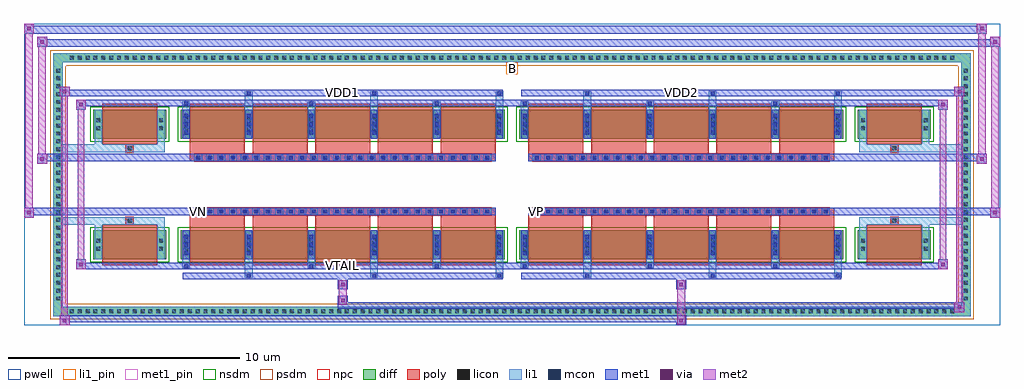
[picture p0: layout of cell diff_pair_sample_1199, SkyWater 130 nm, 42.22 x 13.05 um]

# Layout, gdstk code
import gdstk
lib = gdstk.Library(unit=1e-6, precision=5e-09)
def R(c, l, rs):  # rectangles x0, y0, x1, y1
    for r in rs: c.add(gdstk.rectangle(r[:2], r[2:], *l))
def A(c, l, x, y, w, h, nx, ny, dx, dy):  # array of equal rectangles
    R(c, l, [(x+i*dx, y+j*dy, x+i*dx+w, y+j*dy+h) for i in range(nx) for j in range(ny)])
def P(c, l, *ps):  # polygons
    for p in ps: c.add(gdstk.Polygon(p, *l))
pwell = (64, 44)
diff = (65, 20)
poly = (66, 20)
licon = (66, 44)
li1_pin = (67, 16)
li1 = (67, 20)
mcon = (67, 44)
met1_pin = (68, 16)
met1 = (68, 20)
via = (68, 44)
met2 = (69, 20)
nsdm = (93, 44)
psdm = (94, 20)
npc = (95, 20)

diff_pair_sample_1199 = lib.new_cell('diff_pair_sample_1199')
R(diff_pair_sample_1199, pwell, [(-21.11,-6.09,21.11,6.96), (-18.43,-4.28,-0.01,-0.8), (0.01,-4.28,18.43,-0.8), (-18.43,0.8,-0.01,4.28), (0.01,0.8,18.43,4.28)])
A(diff_pair_sample_1199, diff, -19.245, -5.69, 0.41, 0.41, 113, 2, 0.34, 10.97)
A(diff_pair_sample_1199, diff, -19.84, -5.135, 0.41, 0.41, 1, 30, 0, 0.34)
A(diff_pair_sample_1199, diff, 19.43, -5.135, 0.41, 0.41, 1, 30, 0, 0.34)
R(diff_pair_sample_1199, diff, [(-19.245,-5.69,19.245,-5.28), (-19.84,-5.135,-19.43,5.135), (19.43,-5.135,19.84,5.135), (-18.12,-3.235,-14.96,-1.985), (-14.32,-3.235,-0.32,-1.985), (0.32,-3.235,14.32,-1.985), (14.96,-3.235,18.12,-1.985), (-18.12,1.985,-14.96,3.235), (-14.32,1.985,-0.32,3.235), (0.32,1.985,14.32,3.235), (14.96,1.985,18.12,3.235), (-19.245,5.28,19.245,5.69)])
P(diff_pair_sample_1199, diff, [(19.84,5.69),(-19.84,5.69),(-19.84,-5.28),(-19.43,-5.28),(-19.43,5.28),(19.43,5.28),(19.43,-5.28),(-19.43,-5.28),(-19.84,-5.28),(-19.84,-5.69),(19.84,-5.69)])
A(diff_pair_sample_1199, poly, -13.93, -3.485, 2.38, 1.75, 5, 2, 2.71, 5.22)
A(diff_pair_sample_1199, poly, 0.71, -3.485, 2.38, 1.75, 5, 2, 2.71, 5.22)
A(diff_pair_sample_1199, poly, -13.93, -1.735, 2.38, 0.405, 5, 2, 2.71, 3.065)
A(diff_pair_sample_1199, poly, 0.71, -1.735, 2.38, 0.405, 5, 2, 2.71, 3.065)
A(diff_pair_sample_1199, poly, -13.735, -1.33, 0.33, 0.33, 26, 2, 0.5, 2.33)
A(diff_pair_sample_1199, poly, 0.905, -1.33, 0.33, 0.33, 26, 2, 0.5, 2.33)
R(diff_pair_sample_1199, poly, [(-17.73,-3.485,-15.35,-1.735), (15.35,-3.485,17.73,-1.735), (-16.705,-1.735,-16.375,-1.405), (-16.705,-1.735,-16.375,-1.405), (16.375,-1.735,16.705,-1.405), (16.375,-1.735,16.705,-1.405), (-13.93,-1.33,-0.71,-1), (0.71,-1.33,13.93,-1), (-13.93,1,-0.71,1.33), (0.71,1,13.93,1.33), (-16.705,1.405,-16.375,1.735), (-16.705,1.405,-16.375,1.735), (16.375,1.405,16.705,1.735), (16.375,1.405,16.705,1.735), (-17.73,1.735,-15.35,3.485), (15.35,1.735,17.73,3.485)])
A(diff_pair_sample_1199, licon, -19.125, -5.57, 0.17, 0.17, 113, 2, 0.34, 10.97)
A(diff_pair_sample_1199, licon, -19.72, -5.015, 0.17, 0.17, 1, 30, 0, 0.34)
A(diff_pair_sample_1199, licon, 19.55, -5.015, 0.17, 0.17, 1, 30, 0, 0.34)
A(diff_pair_sample_1199, licon, -14.18, -2.865, 0.17, 0.17, 6, 2, 2.71, 0.34)
A(diff_pair_sample_1199, licon, 0.46, -2.865, 0.17, 0.17, 6, 2, 2.71, 0.34)
A(diff_pair_sample_1199, licon, -13.655, -1.25, 0.17, 0.17, 26, 2, 0.5, 2.33)
A(diff_pair_sample_1199, licon, 0.985, -1.25, 0.17, 0.17, 26, 2, 0.5, 2.33)
A(diff_pair_sample_1199, licon, -14.18, 2.355, 0.17, 0.17, 6, 2, 2.71, 0.34)
A(diff_pair_sample_1199, licon, 0.46, 2.355, 0.17, 0.17, 6, 2, 2.71, 0.34)
R(diff_pair_sample_1199, licon, [(-17.98,-2.865,-17.81,-2.695), (-15.27,-2.865,-15.1,-2.695), (15.1,-2.865,15.27,-2.695), (17.81,-2.865,17.98,-2.695), (-17.98,-2.525,-17.81,-2.355), (-15.27,-2.525,-15.1,-2.355), (15.1,-2.525,15.27,-2.355), (17.81,-2.525,17.98,-2.355), (-16.625,-1.655,-16.455,-1.485), (16.455,-1.655,16.625,-1.485), (-16.625,1.485,-16.455,1.655), (16.455,1.485,16.625,1.655), (-17.98,2.355,-17.81,2.525), (-15.27,2.355,-15.1,2.525), (15.1,2.355,15.27,2.525), (17.81,2.355,17.98,2.525), (-17.98,2.695,-17.81,2.865), (-15.27,2.695,-15.1,2.865), (15.1,2.695,15.27,2.865), (17.81,2.695,17.98,2.865)])
R(diff_pair_sample_1199, li1_pin, [(-0.25,4.78,0.25,5.28)])
A(diff_pair_sample_1199, li1, -19.205, -5.65, 0.33, 0.33, 113, 2, 0.34, 10.97)
A(diff_pair_sample_1199, li1, -19.8, -5.095, 0.33, 0.33, 1, 30, 0, 0.34)
A(diff_pair_sample_1199, li1, 19.47, -5.095, 0.33, 0.33, 1, 30, 0, 0.34)
A(diff_pair_sample_1199, li1, -11.55, -4.04, 0.33, 0.805, 3, 2, 5.42, 7.275)
A(diff_pair_sample_1199, li1, -11.47, -4.04, 0.17, 0.17, 3, 2, 5.42, 7.91)
A(diff_pair_sample_1199, li1, 3.09, -4.04, 0.33, 0.805, 3, 2, 5.42, 7.275)
A(diff_pair_sample_1199, li1, 3.17, -4.04, 0.17, 0.17, 3, 2, 5.42, 7.91)
A(diff_pair_sample_1199, li1, -14.26, -3.61, 0.33, 0.375, 3, 2, 5.42, 6.845)
A(diff_pair_sample_1199, li1, -14.18, -3.61, 0.17, 0.17, 3, 2, 5.42, 7.05)
A(diff_pair_sample_1199, li1, 0.38, -3.61, 0.33, 0.375, 3, 2, 5.42, 6.845)
A(diff_pair_sample_1199, li1, 0.46, -3.61, 0.17, 0.17, 3, 2, 5.42, 7.05)
A(diff_pair_sample_1199, li1, -14.26, -3.235, 0.33, 1.25, 6, 2, 2.71, 5.22)
A(diff_pair_sample_1199, li1, 0.38, -3.235, 0.33, 1.25, 6, 2, 2.71, 5.22)
A(diff_pair_sample_1199, li1, -14.18, -3.055, 0.17, 0.17, 6, 3, 2.71, 0.36)
A(diff_pair_sample_1199, li1, -14.18, -3.055, 0.17, 0.89, 6, 2, 2.71, 5.22)
A(diff_pair_sample_1199, li1, 0.46, -3.055, 0.17, 0.17, 6, 3, 2.71, 0.36)
A(diff_pair_sample_1199, li1, 0.46, -3.055, 0.17, 0.89, 6, 2, 2.71, 5.22)
A(diff_pair_sample_1199, li1, -14.26, -2.945, 0.33, 0.33, 6, 2, 2.71, 0.34)
A(diff_pair_sample_1199, li1, 0.38, -2.945, 0.33, 0.33, 6, 2, 2.71, 0.34)
A(diff_pair_sample_1199, li1, -13.735, -1.33, 0.33, 0.33, 26, 2, 0.5, 2.33)
A(diff_pair_sample_1199, li1, 0.905, -1.33, 0.33, 0.33, 26, 2, 0.5, 2.33)
A(diff_pair_sample_1199, li1, -14.18, 2.165, 0.17, 0.17, 6, 3, 2.71, 0.36)
A(diff_pair_sample_1199, li1, 0.46, 2.165, 0.17, 0.17, 6, 3, 2.71, 0.36)
A(diff_pair_sample_1199, li1, -14.26, 2.275, 0.33, 0.33, 6, 2, 2.71, 0.34)
A(diff_pair_sample_1199, li1, 0.38, 2.275, 0.33, 0.33, 6, 2, 2.71, 0.34)
R(diff_pair_sample_1199, li1, [(-19.84,-5.69,-19.43,-5.28), (-19.84,-5.69,-19.43,-5.28), (-19.43,-5.69,19.43,-5.28), (19.43,-5.69,19.84,-5.28), (19.43,-5.69,19.84,-5.28), (-19.84,-5.28,-19.43,5.28), (19.43,-5.28,19.84,5.28), (-18.06,-3.235,-17.73,-1.985), (-15.35,-3.235,-15.02,-1.985), (15.02,-3.235,15.35,-1.985), (17.73,-3.235,18.06,-1.985), (-18.06,-2.945,-17.73,-2.615), (-15.35,-2.945,-15.02,-2.615), (15.02,-2.945,15.35,-2.615), (17.73,-2.945,18.06,-2.615), (-18.06,-2.605,-17.73,-2.275), (-15.35,-2.605,-15.02,-2.275), (15.02,-2.605,15.35,-2.275), (17.73,-2.605,18.06,-2.275), (-18.06,-1.985,-17.73,-1.405), (-15.35,-1.985,-15.02,-1.405), (15.02,-1.985,15.35,-1.405), (17.73,-1.985,18.06,-1.405), (-19.84,-1.735,-16.705,-1.405), (-18.06,-1.735,-16.705,-1.405), (-16.705,-1.735,-16.375,-1.405), (-16.375,-1.735,-15.02,-1.405), (15.02,-1.735,16.375,-1.405), (16.375,-1.735,16.705,-1.405), (16.375,-1.735,19.84,-1.405), (16.705,-1.735,18.06,-1.405), (-19.84,1.405,-16.705,1.735), (-18.06,1.405,-16.705,1.735), (-18.06,1.405,-17.73,1.985), (-16.705,1.405,-16.375,1.735), (-16.375,1.405,-15.02,1.735), (-15.35,1.405,-15.02,1.985), (15.02,1.405,16.375,1.735), (15.02,1.405,15.35,1.985), (16.375,1.405,16.705,1.735), (16.375,1.405,19.84,1.735), (16.705,1.405,18.06,1.735), (17.73,1.405,18.06,1.985), (-18.06,1.985,-17.73,3.235), (-15.35,1.985,-15.02,3.235), (15.02,1.985,15.35,3.235), (17.73,1.985,18.06,3.235), (-18.06,2.275,-17.73,2.605), (-15.35,2.275,-15.02,2.605), (15.02,2.275,15.35,2.605), (17.73,2.275,18.06,2.605), (-18.06,2.615,-17.73,2.945), (-15.35,2.615,-15.02,2.945), (15.02,2.615,15.35,2.945), (17.73,2.615,18.06,2.945), (-19.84,5.28,-19.43,5.69), (-19.84,5.28,-19.43,5.69), (-19.43,5.28,19.43,5.69), (19.43,5.28,19.84,5.69), (19.43,5.28,19.84,5.69)])
A(diff_pair_sample_1199, mcon, -11.47, -4.04, 0.17, 0.17, 3, 2, 5.42, 7.91)
A(diff_pair_sample_1199, mcon, 3.17, -4.04, 0.17, 0.17, 3, 2, 5.42, 7.91)
A(diff_pair_sample_1199, mcon, -14.18, -3.61, 0.17, 0.17, 3, 2, 5.42, 7.05)
A(diff_pair_sample_1199, mcon, 0.46, -3.61, 0.17, 0.17, 3, 2, 5.42, 7.05)
A(diff_pair_sample_1199, mcon, -14.18, -3.055, 0.17, 0.17, 6, 3, 2.71, 0.36)
A(diff_pair_sample_1199, mcon, 0.46, -3.055, 0.17, 0.17, 6, 3, 2.71, 0.36)
A(diff_pair_sample_1199, mcon, -13.655, -1.25, 0.17, 0.17, 26, 2, 0.5, 2.33)
A(diff_pair_sample_1199, mcon, 0.985, -1.25, 0.17, 0.17, 26, 2, 0.5, 2.33)
A(diff_pair_sample_1199, mcon, -14.18, 2.165, 0.17, 0.17, 6, 3, 2.71, 0.36)
A(diff_pair_sample_1199, mcon, 0.46, 2.165, 0.17, 0.17, 6, 3, 2.71, 0.36)
R(diff_pair_sample_1199, met1_pin, [(-7.455,-3.65,-7.185,-3.38), (-13.705,-1.29,-13.435,-1.02), (0.935,-1.29,1.205,-1.02), (-7.455,3.83,-7.185,4.1), (7.185,3.83,7.455,4.1)])
A(diff_pair_sample_1199, met1, -11.53, -4.1, 0.29, 0.29, 3, 2, 5.42, 7.91)
A(diff_pair_sample_1199, met1, 3.11, -4.1, 0.29, 0.29, 3, 2, 5.42, 7.91)
A(diff_pair_sample_1199, met1, -14.24, -3.67, 0.29, 0.29, 3, 2, 5.42, 7.05)
A(diff_pair_sample_1199, met1, 0.4, -3.67, 0.29, 0.29, 3, 2, 5.42, 7.05)
A(diff_pair_sample_1199, met1, -14.24, -3.235, 0.29, 1.25, 6, 2, 2.71, 5.22)
A(diff_pair_sample_1199, met1, 0.4, -3.235, 0.29, 1.25, 6, 2, 2.71, 5.22)
A(diff_pair_sample_1199, met1, -14.24, -3.115, 0.29, 0.29, 6, 3, 2.71, 0.36)
A(diff_pair_sample_1199, met1, 0.4, -3.115, 0.29, 0.29, 6, 3, 2.71, 0.36)
A(diff_pair_sample_1199, met1, -13.715, -1.31, 0.29, 0.29, 26, 2, 0.5, 2.33)
A(diff_pair_sample_1199, met1, 0.925, -1.31, 0.29, 0.29, 26, 2, 0.5, 2.33)
A(diff_pair_sample_1199, met1, -14.24, 2.105, 0.29, 0.29, 6, 3, 2.71, 0.36)
A(diff_pair_sample_1199, met1, 0.4, 2.105, 0.29, 0.29, 6, 3, 2.71, 0.36)
R(diff_pair_sample_1199, met1, [(-19.57,-6.09,-19.14,-5.66), (7.105,-6.09,7.535,-5.66), (-19.57,-5.95,7.535,-5.66), (19.14,-5.52,19.57,-5.09), (-7.535,-5.38,19.57,-5.09), (-7.535,-5.24,-7.105,-4.81), (-7.535,-4.53,-7.105,-4.1), (7.105,-4.53,7.535,-4.1), (-14.24,-4.1,-0.4,-3.81), (0.4,-4.1,14.24,-3.81), (-18.86,-3.67,-18.43,-3.24), (-18.86,-3.67,-14.24,-3.38), (-14.24,-3.67,-0.4,-3.38), (-0.4,-3.67,0.4,-3.38), (0.4,-3.67,14.24,-3.38), (14.24,-3.67,18.86,-3.38), (18.43,-3.67,18.86,-3.24), (-21.11,-1.43,-20.68,-1), (20.68,-1.43,21.11,-1), (-21.11,-1.33,-0.71,-1), (-13.93,-1.33,-0.71,-1), (0.71,-1.33,13.93,-1), (0.71,-1.33,21.11,-1), (-20.54,0.9,-20.11,1.33), (20.11,0.9,20.54,1.33), (-20.54,1,-13.93,1.33), (-13.93,1,-0.71,1.33), (0.71,1,13.93,1.33), (13.93,1,20.54,1.33), (-18.86,3.24,-18.43,3.67), (18.43,3.24,18.86,3.67), (-18.86,3.38,-14.24,3.67), (-14.24,3.38,-0.4,3.67), (-0.4,3.38,0.4,3.67), (0.4,3.38,14.24,3.67), (14.24,3.38,18.86,3.67), (-19.57,3.81,-19.14,4.24), (-19.57,3.81,-14.24,4.1), (-14.24,3.81,-0.4,4.1), (0.4,3.81,14.24,4.1), (14.24,3.81,19.57,4.1), (19.14,3.81,19.57,4.24), (-20.54,5.96,-20.11,6.39), (-20.54,5.96,-18.43,6.29), (-18.43,5.96,18.43,6.29), (18.43,5.96,21.11,6.29), (20.68,5.96,21.11,6.39), (-21.11,6.53,-20.68,6.96), (-21.11,6.53,-18.43,6.86), (-18.43,6.53,18.43,6.86), (18.43,6.53,20.54,6.86), (20.11,6.53,20.54,6.96)])
R(diff_pair_sample_1199, via, [(-19.43,-5.95,-19.28,-5.8), (7.245,-5.95,7.395,-5.8), (19.28,-5.38,19.43,-5.23), (-7.395,-5.1,-7.245,-4.95), (-7.395,-4.39,-7.245,-4.24), (7.245,-4.39,7.395,-4.24), (-18.72,-3.53,-18.57,-3.38), (18.57,-3.53,18.72,-3.38), (-20.97,-1.29,-20.82,-1.14), (20.82,-1.29,20.97,-1.14), (-20.4,1.04,-20.25,1.19), (20.25,1.04,20.4,1.19), (-18.72,3.38,-18.57,3.53), (18.57,3.38,18.72,3.53), (-19.43,3.95,-19.28,4.1), (19.28,3.95,19.43,4.1), (-20.4,6.1,-20.25,6.25), (20.82,6.1,20.97,6.25), (-20.97,6.67,-20.82,6.82), (20.25,6.67,20.4,6.82)])
R(diff_pair_sample_1199, met2, [(-19.57,-6.09,-19.14,-5.66), (-19.5,-6.09,-19.21,4.24), (-19.21,-6.09,-19.14,-5.66), (-19.52,-6.04,-19.19,-5.71), (7.155,-6.04,7.485,-5.71), (7.155,-5.71,7.485,-4.48), (19.14,-5.52,19.57,-5.09), (19.21,-5.52,19.5,4.24), (19.5,-5.52,19.57,-5.09), (19.19,-5.47,19.52,-5.14), (-7.485,-5.19,-7.155,-4.86), (-7.485,-4.86,-7.155,-4.48), (-7.485,-4.48,-7.155,-4.15), (7.155,-4.48,7.485,-4.15), (-18.86,-3.67,-18.43,-3.24), (-18.79,-3.67,-18.5,3.67), (-18.5,-3.67,-18.43,-3.24), (18.43,-3.67,18.86,-3.24), (18.5,-3.67,18.79,3.67), (18.79,-3.67,18.86,-3.24), (-18.81,-3.62,-18.48,-3.29), (18.48,-3.62,18.81,-3.29), (-21.11,-1.43,-20.68,-1), (-21.06,-1.43,-20.73,6.96), (-20.73,-1.43,-20.68,-1), (20.68,-1.43,21.11,-1), (20.73,-1.43,21.06,6.39), (21.06,-1.43,21.11,-1), (-21.06,-1.38,-20.73,-1.05), (20.73,-1.38,21.06,-1.05), (-20.54,0.9,-20.11,1.33), (-20.49,0.9,-20.16,6.39), (-20.16,0.9,-20.11,1.33), (20.11,0.9,20.54,1.33), (20.16,0.9,20.49,6.96), (20.49,0.9,20.54,1.33), (-20.49,0.95,-20.16,1.28), (20.16,0.95,20.49,1.28), (-18.86,3.24,-18.43,3.67), (-18.5,3.24,-18.43,3.67), (18.43,3.24,18.86,3.67), (18.79,3.24,18.86,3.67), (-18.81,3.29,-18.48,3.62), (18.48,3.29,18.81,3.62), (-19.57,3.81,-19.14,4.24), (-19.21,3.81,-19.14,4.24), (19.14,3.81,19.57,4.24), (19.5,3.81,19.57,4.24), (-19.52,3.86,-19.19,4.19), (19.19,3.86,19.52,4.19), (-20.54,5.96,-20.11,6.39), (-20.16,5.96,-20.11,6.39), (20.68,5.96,21.11,6.39), (21.06,5.96,21.11,6.39), (-20.49,6.01,-20.16,6.34), (20.73,6.01,21.06,6.34), (-21.11,6.53,-20.68,6.96), (-20.73,6.53,-20.68,6.96), (20.11,6.53,20.54,6.96), (20.49,6.53,20.54,6.96), (-21.06,6.58,-20.73,6.91), (20.16,6.58,20.49,6.91)])
R(diff_pair_sample_1199, nsdm, [(-18.25,-3.365,-14.83,-1.855), (-14.45,-3.365,-0.19,-1.855), (0.19,-3.365,14.45,-1.855), (14.83,-3.365,18.25,-1.855), (-18.25,1.855,-14.83,3.365), (-14.45,1.855,-0.19,3.365), (0.19,1.855,14.45,3.365), (14.83,1.855,18.25,3.365)])
P(diff_pair_sample_1199, psdm, [(19.97,5.82),(-19.97,5.82),(-19.97,-5.15),(-19.3,-5.15),(-19.3,5.15),(19.3,5.15),(19.3,-5.15),(-19.3,-5.15),(-19.97,-5.15),(-19.97,-5.82),(19.97,-5.82)])
A(diff_pair_sample_1199, npc, -13.755, -1.35, 0.37, 0.37, 26, 2, 0.5, 2.33)
A(diff_pair_sample_1199, npc, 0.885, -1.35, 0.37, 0.37, 26, 2, 0.5, 2.33)
R(diff_pair_sample_1199, npc, [(-16.725,-1.755,-16.355,-1.385), (16.355,-1.755,16.725,-1.385), (-13.755,-1.35,-12.885,-0.98), (-13.755,-1.35,-12.885,-0.98), (-13.255,-1.35,-12.385,-0.98), (-13.255,-1.35,-12.385,-0.98), (-12.755,-1.35,-11.885,-0.98), (-12.755,-1.35,-11.885,-0.98), (-12.255,-1.35,-11.385,-0.98), (-12.255,-1.35,-11.385,-0.98), (-11.755,-1.35,-10.885,-0.98), (-11.755,-1.35,-10.885,-0.98), (-11.255,-1.35,-10.385,-0.98), (-11.255,-1.35,-10.385,-0.98), (-10.755,-1.35,-9.885,-0.98), (-10.755,-1.35,-9.885,-0.98), (-10.255,-1.35,-9.385,-0.98), (-10.255,-1.35,-9.385,-0.98), (-9.755,-1.35,-8.885,-0.98), (-9.755,-1.35,-8.885,-0.98), (-9.255,-1.35,-8.385,-0.98), (-9.255,-1.35,-8.385,-0.98), (-8.755,-1.35,-7.885,-0.98), (-8.755,-1.35,-7.885,-0.98), (-8.255,-1.35,-7.385,-0.98), (-8.255,-1.35,-7.385,-0.98), (-7.755,-1.35,-6.885,-0.98), (-7.755,-1.35,-6.885,-0.98), (-7.255,-1.35,-6.385,-0.98), (-7.255,-1.35,-6.385,-0.98), (-6.755,-1.35,-5.885,-0.98), (-6.755,-1.35,-5.885,-0.98), (-6.255,-1.35,-5.385,-0.98), (-6.255,-1.35,-5.385,-0.98), (-5.755,-1.35,-4.885,-0.98), (-5.755,-1.35,-4.885,-0.98), (-5.255,-1.35,-4.385,-0.98), (-5.255,-1.35,-4.385,-0.98), (-4.755,-1.35,-3.885,-0.98), (-4.755,-1.35,-3.885,-0.98), (-4.255,-1.35,-3.385,-0.98), (-4.255,-1.35,-3.385,-0.98), (-3.755,-1.35,-2.885,-0.98), (-3.755,-1.35,-2.885,-0.98), (-3.255,-1.35,-2.385,-0.98), (-3.255,-1.35,-2.385,-0.98), (-2.755,-1.35,-1.885,-0.98), (-2.755,-1.35,-1.885,-0.98), (-2.255,-1.35,-1.385,-0.98), (-2.255,-1.35,-1.385,-0.98), (-1.755,-1.35,-0.885,-0.98), (-1.755,-1.35,-0.885,-0.98), (0.885,-1.35,1.755,-0.98), (0.885,-1.35,1.755,-0.98), (1.385,-1.35,2.255,-0.98), (1.385,-1.35,2.255,-0.98), (1.885,-1.35,2.755,-0.98), (1.885,-1.35,2.755,-0.98), (2.385,-1.35,3.255,-0.98), (2.385,-1.35,3.255,-0.98), (2.885,-1.35,3.755,-0.98), (2.885,-1.35,3.755,-0.98), (3.385,-1.35,4.255,-0.98), (3.385,-1.35,4.255,-0.98), (3.885,-1.35,4.755,-0.98), (3.885,-1.35,4.755,-0.98), (4.385,-1.35,5.255,-0.98), (4.385,-1.35,5.255,-0.98), (4.885,-1.35,5.755,-0.98), (4.885,-1.35,5.755,-0.98), (5.385,-1.35,6.255,-0.98), (5.385,-1.35,6.255,-0.98), (5.885,-1.35,6.755,-0.98), (5.885,-1.35,6.755,-0.98), (6.385,-1.35,7.255,-0.98), (6.385,-1.35,7.255,-0.98), (6.885,-1.35,7.755,-0.98), (6.885,-1.35,7.755,-0.98), (7.385,-1.35,8.255,-0.98), (7.385,-1.35,8.255,-0.98), (7.885,-1.35,8.755,-0.98), (7.885,-1.35,8.755,-0.98), (8.385,-1.35,9.255,-0.98), (8.385,-1.35,9.255,-0.98), (8.885,-1.35,9.755,-0.98), (8.885,-1.35,9.755,-0.98), (9.385,-1.35,10.255,-0.98), (9.385,-1.35,10.255,-0.98), (9.885,-1.35,10.755,-0.98), (9.885,-1.35,10.755,-0.98), (10.385,-1.35,11.255,-0.98), (10.385,-1.35,11.255,-0.98), (10.885,-1.35,11.755,-0.98), (10.885,-1.35,11.755,-0.98), (11.385,-1.35,12.255,-0.98), (11.385,-1.35,12.255,-0.98), (11.885,-1.35,12.755,-0.98), (11.885,-1.35,12.755,-0.98), (12.385,-1.35,13.255,-0.98), (12.385,-1.35,13.255,-0.98), (12.885,-1.35,13.755,-0.98), (12.885,-1.35,13.755,-0.98), (-13.755,0.98,-12.885,1.35), (-13.755,0.98,-12.885,1.35), (-13.255,0.98,-12.385,1.35), (-13.255,0.98,-12.385,1.35), (-12.755,0.98,-11.885,1.35), (-12.755,0.98,-11.885,1.35), (-12.255,0.98,-11.385,1.35), (-12.255,0.98,-11.385,1.35), (-11.755,0.98,-10.885,1.35), (-11.755,0.98,-10.885,1.35), (-11.255,0.98,-10.385,1.35), (-11.255,0.98,-10.385,1.35), (-10.755,0.98,-9.885,1.35), (-10.755,0.98,-9.885,1.35), (-10.255,0.98,-9.385,1.35), (-10.255,0.98,-9.385,1.35), (-9.755,0.98,-8.885,1.35), (-9.755,0.98,-8.885,1.35), (-9.255,0.98,-8.385,1.35), (-9.255,0.98,-8.385,1.35), (-8.755,0.98,-7.885,1.35), (-8.755,0.98,-7.885,1.35), (-8.255,0.98,-7.385,1.35), (-8.255,0.98,-7.385,1.35), (-7.755,0.98,-6.885,1.35), (-7.755,0.98,-6.885,1.35), (-7.255,0.98,-6.385,1.35), (-7.255,0.98,-6.385,1.35), (-6.755,0.98,-5.885,1.35), (-6.755,0.98,-5.885,1.35), (-6.255,0.98,-5.385,1.35), (-6.255,0.98,-5.385,1.35), (-5.755,0.98,-4.885,1.35), (-5.755,0.98,-4.885,1.35), (-5.255,0.98,-4.385,1.35), (-5.255,0.98,-4.385,1.35), (-4.755,0.98,-3.885,1.35), (-4.755,0.98,-3.885,1.35), (-4.255,0.98,-3.385,1.35), (-4.255,0.98,-3.385,1.35), (-3.755,0.98,-2.885,1.35), (-3.755,0.98,-2.885,1.35), (-3.255,0.98,-2.385,1.35), (-3.255,0.98,-2.385,1.35), (-2.755,0.98,-1.885,1.35), (-2.755,0.98,-1.885,1.35), (-2.255,0.98,-1.385,1.35), (-2.255,0.98,-1.385,1.35), (-1.755,0.98,-0.885,1.35), (-1.755,0.98,-0.885,1.35), (0.885,0.98,1.755,1.35), (0.885,0.98,1.755,1.35), (1.385,0.98,2.255,1.35), (1.385,0.98,2.255,1.35), (1.885,0.98,2.755,1.35), (1.885,0.98,2.755,1.35), (2.385,0.98,3.255,1.35), (2.385,0.98,3.255,1.35), (2.885,0.98,3.755,1.35), (2.885,0.98,3.755,1.35), (3.385,0.98,4.255,1.35), (3.385,0.98,4.255,1.35), (3.885,0.98,4.755,1.35), (3.885,0.98,4.755,1.35), (4.385,0.98,5.255,1.35), (4.385,0.98,5.255,1.35), (4.885,0.98,5.755,1.35), (4.885,0.98,5.755,1.35), (5.385,0.98,6.255,1.35), (5.385,0.98,6.255,1.35), (5.885,0.98,6.755,1.35), (5.885,0.98,6.755,1.35), (6.385,0.98,7.255,1.35), (6.385,0.98,7.255,1.35), (6.885,0.98,7.755,1.35), (6.885,0.98,7.755,1.35), (7.385,0.98,8.255,1.35), (7.385,0.98,8.255,1.35), (7.885,0.98,8.755,1.35), (7.885,0.98,8.755,1.35), (8.385,0.98,9.255,1.35), (8.385,0.98,9.255,1.35), (8.885,0.98,9.755,1.35), (8.885,0.98,9.755,1.35), (9.385,0.98,10.255,1.35), (9.385,0.98,10.255,1.35), (9.885,0.98,10.755,1.35), (9.885,0.98,10.755,1.35), (10.385,0.98,11.255,1.35), (10.385,0.98,11.255,1.35), (10.885,0.98,11.755,1.35), (10.885,0.98,11.755,1.35), (11.385,0.98,12.255,1.35), (11.385,0.98,12.255,1.35), (11.885,0.98,12.755,1.35), (11.885,0.98,12.755,1.35), (12.385,0.98,13.255,1.35), (12.385,0.98,13.255,1.35), (12.885,0.98,13.755,1.35), (12.885,0.98,13.755,1.35), (-16.725,1.385,-16.355,1.755), (16.355,1.385,16.725,1.755)])
diff_pair_sample_1199.add(gdstk.Label('VTAIL', (-7.32,-3.515), layer=68, texttype=5))
diff_pair_sample_1199.add(gdstk.Label('VN', (-13.57,-1.155), layer=68, texttype=5))
diff_pair_sample_1199.add(gdstk.Label('VP', (1.07,-1.155), layer=68, texttype=5))
diff_pair_sample_1199.add(gdstk.Label('B', (0,5.03), layer=67, texttype=5))
diff_pair_sample_1199.add(gdstk.Label('VDD2', (7.32,3.965), layer=68, texttype=5))
diff_pair_sample_1199.add(gdstk.Label('VDD1', (-7.32,3.965), layer=68, texttype=5))

lib.write_gds('diff_pair_sample_1199.gds')
